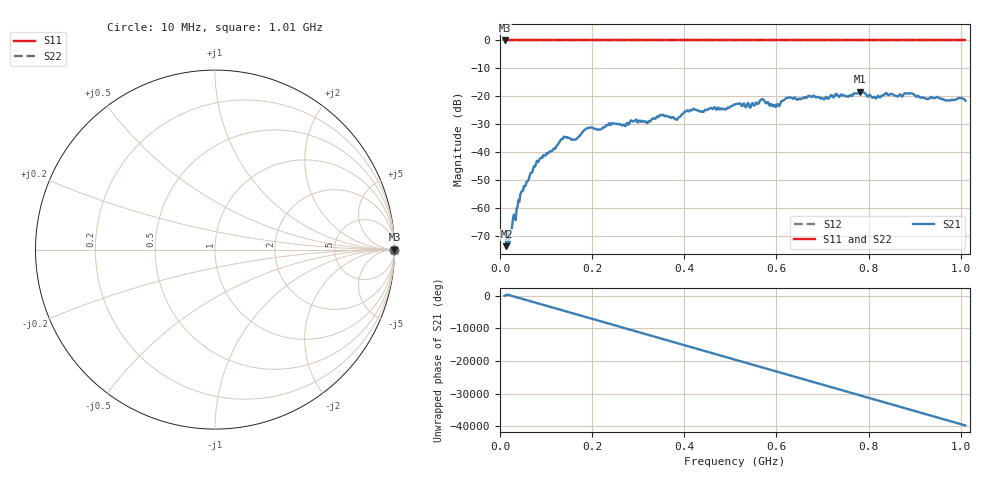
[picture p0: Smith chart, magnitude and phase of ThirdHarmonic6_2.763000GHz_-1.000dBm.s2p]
! 8/17/2025 6:59:09 AM
! C:\ANRITSUVNA\TEMP\TEMP.S2P
! CHANNEL.1
! TR.MEASUREMENT
! RAW.DATA
! RF.CORRECTION.OFF
! AVERAGING.OFF
! IF.BANDWIDTH: 5KHZ
! SWEEPTYPE:  FREQ.SWEEP(Linear)
! Reference Plane Port Info
! PORT:  PORT1  PORT2
! DISTANCE:  0  m  0  m
! TIME:  0  s  0  s
! PHASE.OFFSET:  0  deg.  0  deg.
! LOSS:  0  dB  0  dB
! REF.LOSS:  0  dB  0  dB
! REF.FREQ:  0  Hz  0  Hz
! Power Info
! POWER:  -20  dBm  -20  dBm
! EFF.POWER:  -20  dBm  -20  dBm
! SOURCE.ATTEN:  0  dB  0  dB
! TEST.ATTEN:  0  dB  0  dB
# GHZ S RI R 50.0
! FREQ.GHZ  S11RE  S11IM  S21RE  S21IM  S12RE  S12IM  S22RE  S22IM
!; PortSelection: Port_12
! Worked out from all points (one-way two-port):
!   501 points, 10 MHz to 1.01 GHz, reference 50 ohm
!   highest |S21| = -18.36 dB at 782 MHz (marker M1); lowest = -73.6 dB at 14 MHz (marker M2)
!   lowest |S11| = 0.0 dB at 10 MHz (marker M3)
!   |S11| at or under -10 dB: nowhere
!   |S22| runs from 0.0 to 0.0 dB; largest |S21 - S12| = 1.1
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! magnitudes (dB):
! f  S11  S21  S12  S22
! 10 MHz  0.0  -69.8  0.0  0.0
! 14 MHz  0.0  -73.6  0.0  0.0
! 22 MHz  0.0  -69.6  0.0  0.0
! 48 MHz  0.0  -53.8  0.0  0.0
! 82 MHz  0.0  -43.5  0.0  0.0
! 136 MHz  0.0  -35.3  0.0  0.0
! 162 MHz  0.0  -35.5  0.0  0.0
! 178 MHz  0.0  -32.9  0.0  0.0
! 322 MHz  0.0  -28.9  0.0  0.0
! 344 MHz  0.0  -27.4  0.0  0.0
! 382 MHz  0.0  -28.1  0.0  0.0
! 416 MHz  0.0  -25.0  0.0  0.0
! 510 MHz  0.0  -22.8  0.0  0.0
! 546 MHz  0.0  -22.7  0.0  0.0
! 568 MHz  0.0  -21.1  0.0  0.0
! 602 MHz  0.0  -22.7  0.0  0.0
! 624 MHz  0.0  -20.4  0.0  0.0
! 678 MHz  0.0  -20.1  0.0  0.0
! 782 MHz  0.0  -18.4  0.0  0.0
! 812 MHz  0.0  -20.2  0.0  0.0
! 844 MHz  0.0  -19.5  0.0  0.0
! 1.01 GHz  0.0  -21.6  0.0  0.0
